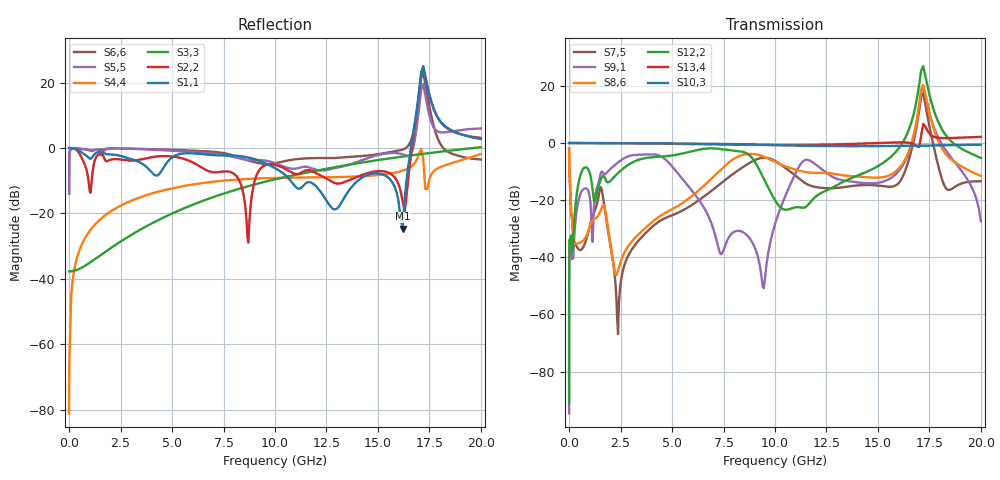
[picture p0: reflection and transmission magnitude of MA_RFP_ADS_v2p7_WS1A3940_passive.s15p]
! AWR Design Environment (8379) Thu Feb 03 15:49:35 2022
! Document = 'WS1A3940_passive'
! nPorts: 15, nXvals: 404
!Freq DBS11 AngS11 DBS12 AngS12 DBS13 AngS13 DBS14 AngS14
!	DBS15 AngS15 DBS16 AngS16 DBS17 AngS17 DBS18 AngS18
!	DBS19 AngS19 DBS1_10 AngS1_10 DBS1_11 AngS1_11 DBS1_12 AngS1_12
!	DBS1_13 AngS1_13 DBS1_14 AngS1_14 DBS1_15 AngS1_15
!	DBS21 AngS21 DBS22 AngS22 DBS23 AngS23 DBS24 AngS24
!	DBS25 AngS25 DBS26 AngS26 DBS27 AngS27 DBS28 AngS28
!	DBS29 AngS29 DBS2_10 AngS2_10 DBS2_11 AngS2_11 DBS2_12 AngS2_12
!	DBS2_13 AngS2_13 DBS2_14 AngS2_14 DBS2_15 AngS2_15
!	DBS31 AngS31 DBS32 AngS32 DBS33 AngS33 DBS34 AngS34
!	DBS35 AngS35 DBS36 AngS36 DBS37 AngS37 DBS38 AngS38
!	DBS39 AngS39 DBS3_10 AngS3_10 DBS3_11 AngS3_11 DBS3_12 AngS3_12
!	DBS3_13 AngS3_13 DBS3_14 AngS3_14 DBS3_15 AngS3_15
!	DBS41 AngS41 DBS42 AngS42 DBS43 AngS43 DBS44 AngS44
!	DBS45 AngS45 DBS46 AngS46 DBS47 AngS47 DBS48 AngS48
!	DBS49 AngS49 DBS4_10 AngS4_10 DBS4_11 AngS4_11 DBS4_12 AngS4_12
!	DBS4_13 AngS4_13 DBS4_14 AngS4_14 DBS4_15 AngS4_15
!	DBS51 AngS51 DBS52 AngS52 DBS53 AngS53 DBS54 AngS54
!	DBS55 AngS55 DBS56 AngS56 DBS57 AngS57 DBS58 AngS58
!	DBS59 AngS59 DBS5_10 AngS5_10 DBS5_11 AngS5_11 DBS5_12 AngS5_12
!	DBS5_13 AngS5_13 DBS5_14 AngS5_14 DBS5_15 AngS5_15
!	DBS61 AngS61 DBS62 AngS62 DBS63 AngS63 DBS64 AngS64
!	DBS65 AngS65 DBS66 AngS66 DBS67 AngS67 DBS68 AngS68
!	DBS69 AngS69 DBS6_10 AngS6_10 DBS6_11 AngS6_11 DBS6_12 AngS6_12
!	DBS6_13 AngS6_13 DBS6_14 AngS6_14 DBS6_15 AngS6_15
!	DBS71 AngS71 DBS72 AngS72 DBS73 AngS73 DBS74 AngS74
!	DBS75 AngS75 DBS76 AngS76 DBS77 AngS77 DBS78 AngS78
!	DBS79 AngS79 DBS7_10 AngS7_10 DBS7_11 AngS7_11 DBS7_12 AngS7_12
!	DBS7_13 AngS7_13 DBS7_14 AngS7_14 DBS7_15 AngS7_15
!	DBS81 AngS81 DBS82 AngS82 DBS83 AngS83 DBS84 AngS84
!	DBS85 AngS85 DBS86 AngS86 DBS87 AngS87 DBS88 AngS88
!	DBS89 AngS89 DBS8_10 AngS8_10 DBS8_11 AngS8_11 DBS8_12 AngS8_12
!	DBS8_13 AngS8_13 DBS8_14 AngS8_14 DBS8_15 AngS8_15
!	DBS91 AngS91 DBS92 AngS92 DBS93 AngS93 DBS94 AngS94
!	DBS95 AngS95 DBS96 AngS96 DBS97 AngS97 DBS98 AngS98
!	DBS99 AngS99 DBS9_10 AngS9_10 DBS9_11 AngS9_11 DBS9_12 AngS9_12
!	DBS9_13 AngS9_13 DBS9_14 AngS9_14 DBS9_15 AngS9_15
!	DBS10_1 AngS10_1 DBS10_2 AngS10_2 DBS10_3 AngS10_3 DBS10_4 AngS10_4
!	DBS10_5 AngS10_5 DBS10_6 AngS10_6 DBS10_7 AngS10_7 DBS10_8 AngS10_8
!	DBS10_9 AngS10_9 DBS10_10 AngS10_10 DBS10_11 AngS10_11 DBS10_12 AngS10_12
!	DBS10_13 AngS10_13 DBS10_14 AngS10_14 DBS10_15 AngS10_15
!	DBS11_1 AngS11_1 DBS11_2 AngS11_2 DBS11_3 AngS11_3 DBS11_4 AngS11_4
!	DBS11_5 AngS11_5 DBS11_6 AngS11_6 DBS11_7 AngS11_7 DBS11_8 AngS11_8
!	DBS11_9 AngS11_9 DBS11_10 AngS11_10 DBS11_11 AngS11_11 DBS11_12 AngS11_12
!	DBS11_13 AngS11_13 DBS11_14 AngS11_14 DBS11_15 AngS11_15
!	DBS12_1 AngS12_1 DBS12_2 AngS12_2 DBS12_3 AngS12_3 DBS12_4 AngS12_4
!	DBS12_5 AngS12_5 DBS12_6 AngS12_6 DBS12_7 AngS12_7 DBS12_8 AngS12_8
!	DBS12_9 AngS12_9 DBS12_10 AngS12_10 DBS12_11 AngS12_11 DBS12_12 AngS12_12
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# HZ S DB R 50
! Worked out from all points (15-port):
!   403 points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, 10 kHz to 20 GHz, reference 50 ohm
!   strongest paths, dB at 10 kHz, 3.3 GHz, 6.634 GHz, 10 GHz, 20 GHz:
!     S10,3: -0.1, -0.2, -0.3, -0.8, -0.6
!     S13,4: 0.0, -0.2, -0.5, -0.8, 2.1
!     S12,2: -91.1, -6.1, -2.0, -20.0, -5.3
!     S8,6: -2.0, -32.5, -14.4, -6.7, -11.6
!     S9,1: -94.6, -4.2, -23.7, -28.5, -27.4
!     S7,5: -2.0, -34.8, -18.3, -6.3, -13.4
!   lowest |S11| = -24.7 dB at 16.2 GHz (marker M1), VSWR 1.12, Z = 45.8 + j3.66 ohm
!   |S11| at or under -10 dB: 10.76 GHz to 14.03 GHz (3.268 GHz wide, 26.4 % of centre); 15.64 GHz to 16.38 GHz (744.9 MHz wide, 4.65 % of centre)
